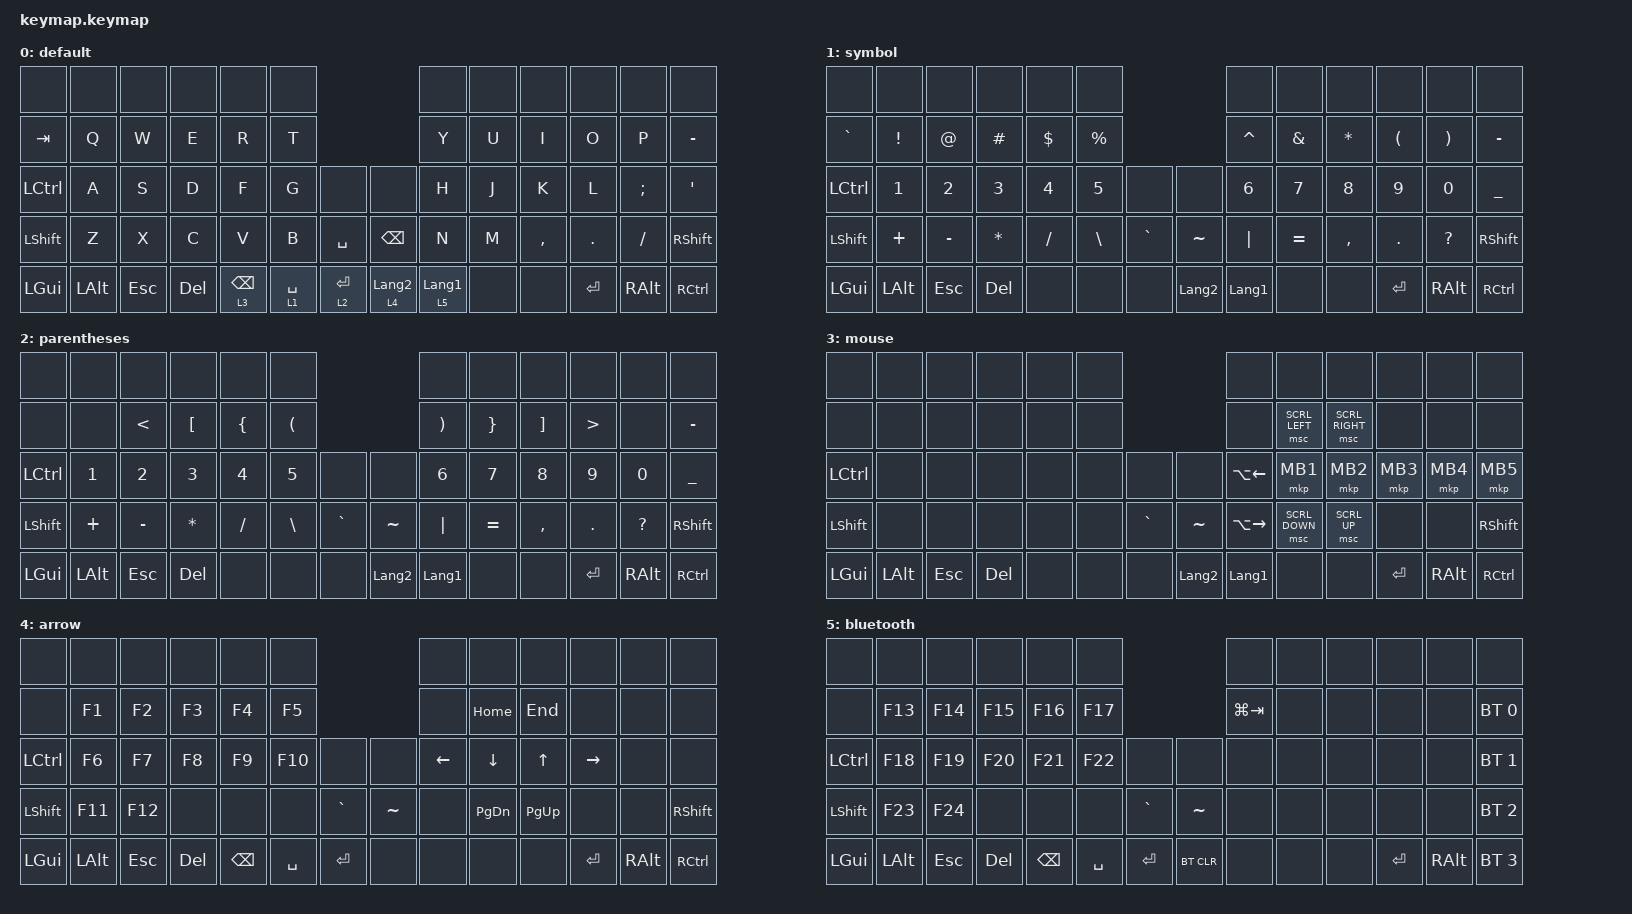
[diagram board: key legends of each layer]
#include <input/processors.dtsi>
#include <zephyr/dt-bindings/input/input-event-codes.h>
#include <behaviors.dtsi>
#include <dt-bindings/zmk/bt.h>
#include <dt-bindings/zmk/keys.h>
#include <dt-bindings/zmk/pointing.h>

/ {
    zip_scroll_scaler: zip_scroll_scaler {
        compatible = "zmk,input-processor-scaler";
        #input-processor-cells = <2>;
        type = <INPUT_EV_REL>;
        codes = <INPUT_REL_WHEEL INPUT_REL_HWHEEL>;
        track-remainders;
    };

    combos {
        compatible = "zmk,combos";

        bt_clear {
            bindings = <&bt BT_CLR>;
            key-positions = <28 29>;
        };
    };

    keymap {
        compatible = "zmk,keymap";

        layer_0 {
            bindings = <
&none      &none     &none       &none       &none            &none                                       &none             &none  &none      &none      &none      &none
&kp TAB    &kp Q     &kp W       &kp E       &kp R            &kp T                                       &kp Y             &kp U  &kp I      &kp O      &kp P      &kp MINUS
&kp LCTRL  &kp A     &kp S       &kp D       &kp F            &kp G        &none        &none             &kp H             &kp J  &kp K      &kp L      &kp SEMI   &kp SQT
&kp LSHFT  &kp Z     &kp X       &kp C       &kp V            &kp B        &kp SPACE    &kp BACKSPACE     &kp N             &kp M  &kp COMMA  &kp DOT    &kp SLASH  &kp RSHFT
&kp LGUI   &kp LALT  &kp ESCAPE  &kp DELETE  &lt 3 BACKSPACE  &lt 1 SPACE  &lt 2 ENTER  &lt 4 LANGUAGE_2  &lt 5 LANGUAGE_1  &none  &none      &kp ENTER  &kp RALT   &kp RCTRL
            >;

            label = "default";
        };

        layer_1 {
            bindings = <
&none      &none            &none        &none         &none       &none                                     &none           &none          &none         &none                 &none                  &none
&kp GRAVE  &kp EXCLAMATION  &kp AT_SIGN  &kp HASH      &kp DOLLAR  &kp PERCENT                               &kp CARET       &kp AMPERSAND  &kp ASTERISK  &kp LEFT_PARENTHESIS  &kp RIGHT_PARENTHESIS  &kp MINUS
&kp LCTRL  &kp N1           &kp N2       &kp N3        &kp N4      &kp N5         &none      &none           &kp N6          &kp N7         &kp N8        &kp N9                &kp N0                 &kp UNDERSCORE
&kp LSHFT  &kp PLUS         &kp MINUS    &kp ASTERISK  &kp SLASH   &kp BACKSLASH  &kp GRAVE  &kp TILDE       &kp PIPE        &kp EQUAL      &kp COMMA     &kp DOT               &kp QUESTION           &kp RSHFT
&kp LGUI   &kp LALT         &kp ESCAPE   &kp DELETE    &none       &none          &none      &kp LANGUAGE_2  &kp LANGUAGE_1  &none          &none         &kp ENTER             &kp RALT               &kp RCTRL
            >;

            label = "symbol";
        };

        layer_2 {
            bindings = <
&none      &none     &none          &none             &none           &none                                            &none                  &none            &none              &none             &none         &none
&none      &none     &kp LESS_THAN  &kp LEFT_BRACKET  &kp LEFT_BRACE  &kp LEFT_PARENTHESIS                             &kp RIGHT_PARENTHESIS  &kp RIGHT_BRACE  &kp RIGHT_BRACKET  &kp GREATER_THAN  &none         &kp MINUS
&kp LCTRL  &kp N1    &kp N2         &kp N3            &kp N4          &kp N5                &none      &none           &kp N6                 &kp N7           &kp N8             &kp N9            &kp N0        &kp UNDERSCORE
&kp LSHFT  &kp PLUS  &kp MINUS      &kp ASTERISK      &kp SLASH       &kp BACKSLASH         &kp GRAVE  &kp TILDE       &kp PIPE               &kp EQUAL        &kp COMMA          &kp DOT           &kp QUESTION  &kp RSHFT
&kp LGUI   &kp LALT  &kp ESCAPE     &kp DELETE        &none           &none                 &none      &kp LANGUAGE_2  &kp LANGUAGE_1         &none            &none              &kp ENTER         &kp RALT      &kp RCTRL
            >;

            label = "parentheses";
        };

        layer_3 {
            bindings = <
&none      &none     &none       &none       &none  &none                             &none               &none           &none            &none      &none     &none
&none      &none     &none       &none       &none  &none                             &none               &msc SCRL_LEFT  &msc SCRL_RIGHT  &none      &none     &none
&kp LCTRL  &none     &none       &none       &none  &none  &none      &none           &kp LA(LEFT_ARROW)  &mkp MB1        &mkp MB2         &mkp MB3   &mkp MB4  &mkp MB5
&kp LSHFT  &none     &none       &none       &none  &none  &kp GRAVE  &kp TILDE       &kp LA(RIGHT)       &msc SCRL_DOWN  &msc SCRL_UP     &none      &none     &kp RSHFT
&kp LGUI   &kp LALT  &kp ESCAPE  &kp DELETE  &none  &none  &none      &kp LANGUAGE_2  &kp LANGUAGE_1      &none           &none            &kp ENTER  &kp RALT  &kp RCTRL
            >;

            label = "mouse";
        };

        layer_4 {
            bindings = <
&none      &none     &none       &none       &none          &none                            &none           &none           &none         &none            &none     &none
&none      &kp F1    &kp F2      &kp F3      &kp F4         &kp F5                           &none           &kp HOME        &kp END       &none            &none     &none
&kp LCTRL  &kp F6    &kp F7      &kp F8      &kp F9         &kp F10    &none      &none      &kp LEFT_ARROW  &kp DOWN_ARROW  &kp UP_ARROW  &kp RIGHT_ARROW  &none     &none
&kp LSHFT  &kp F11   &kp F12     &none       &none          &none      &kp GRAVE  &kp TILDE  &none           &kp PAGE_DOWN   &kp PAGE_UP   &none            &none     &kp RSHFT
&kp LGUI   &kp LALT  &kp ESCAPE  &kp DELETE  &kp BACKSPACE  &kp SPACE  &kp ENTER  &none      &none           &none           &none         &kp ENTER        &kp RALT  &kp RCTRL
            >;

            label = "arrow";
        };

        layer_5 {
            bindings = <
&none      &none     &none       &none       &none          &none                             &none        &none  &none  &none      &none     &none
&none      &kp F13   &kp F14     &kp F15     &kp F16        &kp F17                           &kp LG(TAB)  &none  &none  &none      &none     &bt BT_SEL 0
&kp LCTRL  &kp F18   &kp F19     &kp F20     &kp F21        &kp F22    &none      &none       &none        &none  &none  &none      &none     &bt BT_SEL 1
&kp LSHFT  &kp F23   &kp F24     &none       &none          &none      &kp GRAVE  &kp TILDE   &none        &none  &none  &none      &none     &bt BT_SEL 2
&kp LGUI   &kp LALT  &kp ESCAPE  &kp DELETE  &kp BACKSPACE  &kp SPACE  &kp ENTER  &bt BT_CLR  &none        &none  &none  &kp ENTER  &kp RALT  &bt BT_SEL 3
            >;

            label = "bluetooth";
        };
    };
};

&msc {
    time-to-max-speed-ms = <500>;
    acceleration-exponent = <1>;
};

&msc_input_listener { input-processors = <&zip_scroll_scaler 16 1>; };
